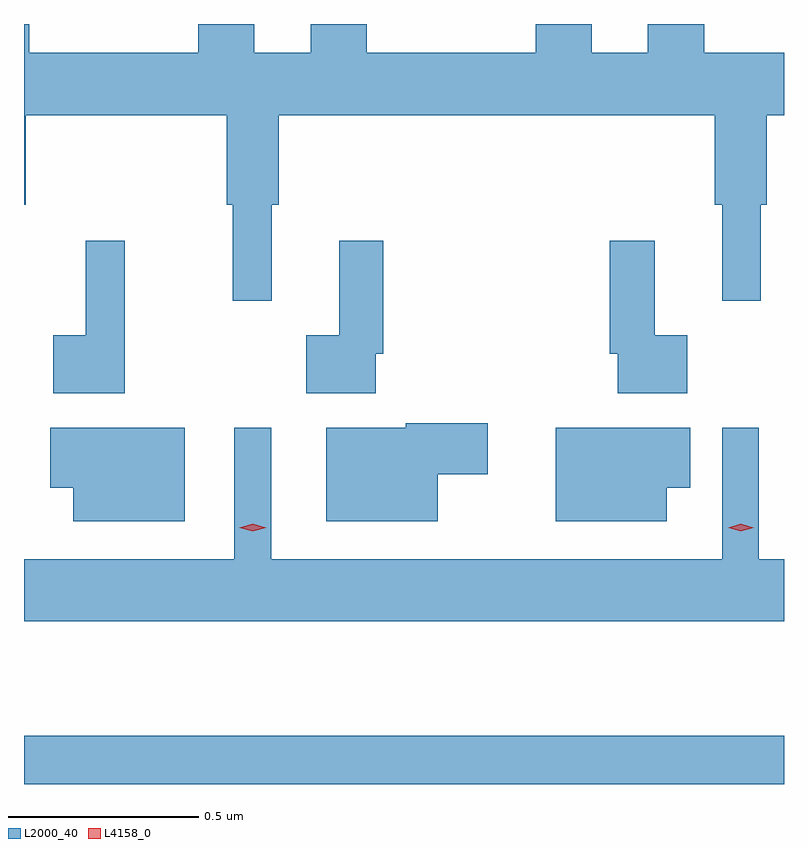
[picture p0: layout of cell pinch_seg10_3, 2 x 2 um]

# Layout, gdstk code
import gdstk
lib = gdstk.Library(unit=1e-6, precision=1e-09)
def R(c, l, rs):  # rectangles x0, y0, x1, y1
    for r in rs: c.add(gdstk.rectangle(r[:2], r[2:], *l))
def P(c, l, *ps):  # polygons
    for p in ps: c.add(gdstk.Polygon(p, *l))
L2000_40 = (2000, 40)
L4158_0 = (4158, 0)

pinch_seg10_3 = lib.new_cell('pinch_seg10_3')
R(pinch_seg10_3, L2000_40, [(1119.667,1261.26,1121.667,1261.387)])
P(pinch_seg10_3, L2000_40, [(1120.319,1262.784),(1120.337,1262.784),(1120.337,1263.02),(1121.485,1263.02),(1121.485,1262.784),(1121.504,1262.784),(1121.504,1262.532),(1121.606,1262.532),(1121.606,1262.784),(1121.621,1262.784),(1121.621,1263.02),(1121.667,1263.02),(1121.667,1263.184),(1121.457,1263.184),(1121.457,1263.26),(1121.309,1263.26),(1121.309,1263.184),(1121.161,1263.184),(1121.161,1263.26),(1121.014,1263.26),(1121.014,1263.184),(1120.569,1263.184),(1120.569,1263.26),(1120.421,1263.26),(1120.421,1263.184),(1120.273,1263.184),(1120.273,1263.26),(1120.126,1263.26),(1120.126,1263.184),(1119.681,1263.184),(1119.681,1263.26),(1119.667,1263.26),(1119.667,1262.784),(1119.671,1262.784),(1119.671,1263.02),(1120.201,1263.02),(1120.201,1262.784),(1120.216,1262.784),(1120.216,1262.532),(1120.319,1262.532)],
  [(1120.593,1262.392),(1120.613,1262.392),(1120.613,1262.689),(1120.496,1262.689),(1120.496,1262.441),(1120.41,1262.441),(1120.41,1262.288),(1120.593,1262.288)],
  [(1121.413,1262.441),(1121.327,1262.441),(1121.327,1262.689),(1121.209,1262.689),(1121.209,1262.392),(1121.229,1262.392),(1121.229,1262.288),(1121.413,1262.288)],
  [(1119.932,1262.689),(1119.83,1262.689),(1119.83,1262.441),(1119.744,1262.441),(1119.744,1262.288),(1119.932,1262.288)],
  [(1120.756,1262.075),(1120.888,1262.075),(1120.888,1262.21),(1120.671,1262.21),(1120.671,1262.197),(1120.463,1262.197),(1120.463,1261.952),(1120.756,1261.952)],
  [(1120.09,1262.197),(1119.736,1262.197),(1119.736,1262.039),(1119.797,1262.039),(1119.797,1261.952),(1120.09,1261.952)],
  [(1121.359,1262.039),(1121.42,1262.039),(1121.42,1262.197),(1121.066,1262.197),(1121.066,1261.952),(1121.359,1261.952)],
  [(1121.505,1262.197),(1121.505,1261.852),(1120.318,1261.852),(1120.318,1262.197),(1120.22,1262.197),(1120.22,1261.852),(1119.667,1261.852),(1119.667,1261.688),(1121.667,1261.688),(1121.667,1261.852),(1121.601,1261.852),(1121.601,1262.197)])
P(pinch_seg10_3, L4158_0, [(1121.553,1261.925),(1121.52,1261.935),(1121.52,1261.935),(1121.52,1261.935),(1121.553,1261.945),(1121.587,1261.935),(1121.587,1261.935),(1121.587,1261.935)],
  [(1120.269,1261.925),(1120.234,1261.935),(1120.234,1261.935),(1120.234,1261.935),(1120.269,1261.945),(1120.304,1261.935),(1120.304,1261.935),(1120.304,1261.935)])

lib.write_gds('pinch_seg10_3.gds')
